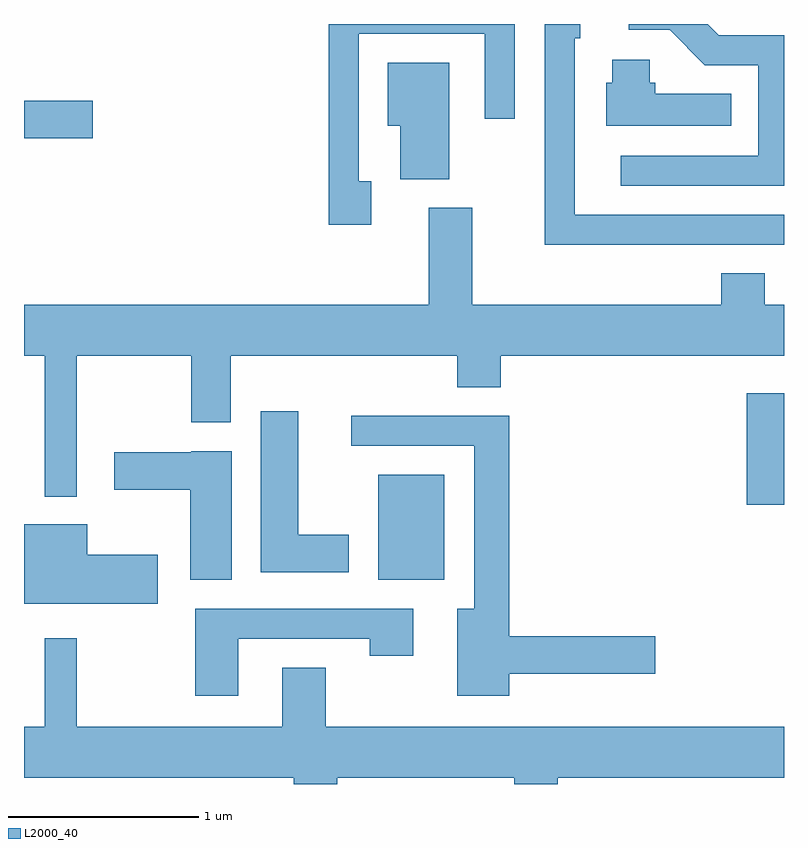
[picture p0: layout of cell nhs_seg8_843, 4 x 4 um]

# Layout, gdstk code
import gdstk
lib = gdstk.Library(unit=1e-6, precision=1e-09)
def R(c, l, rs):  # rectangles x0, y0, x1, y1
    for r in rs: c.add(gdstk.rectangle(r[:2], r[2:], *l))
def P(c, l, *ps):  # polygons
    for p in ps: c.add(gdstk.Polygon(p, *l))
L2000_40 = (2000, 40)

nhs_seg8_843 = lib.new_cell('nhs_seg8_843')
R(nhs_seg8_843, L2000_40, [(211.476,1877.416,211.824,1877.969), (213.416,1877.811,213.611,1878.399), (209.611,1879.741,209.974,1879.939)])
P(nhs_seg8_843, L2000_40, [(213.611,1880.284),(213.267,1880.284),(213.209,1880.342),(212.793,1880.342),(212.793,1880.311),(213.009,1880.311),(213.194,1880.126),(213.476,1880.126),(213.476,1879.649),(212.753,1879.649),(212.753,1879.491),(213.611,1879.491)],
  [(211.439,1879.514),(211.374,1879.514),(211.374,1880.291),(212.036,1880.291),(212.036,1879.843),(212.194,1879.843),(212.194,1880.342),(211.216,1880.342),(211.216,1879.286),(211.439,1879.286)],
  [(213.611,1879.339),(212.509,1879.339),(212.509,1880.266),(212.539,1880.266),(212.539,1880.342),(212.351,1880.342),(212.351,1879.181),(213.611,1879.181)],
  [(213.333,1879.974),(212.934,1879.974),(212.934,1880.034),(212.904,1880.034),(212.904,1880.154),(212.706,1880.154),(212.706,1880.034),(212.676,1880.034),(212.676,1879.806),(213.333,1879.806)],
  [(211.849,1880.139),(211.526,1880.139),(211.526,1879.806),(211.591,1879.806),(211.591,1879.526),(211.849,1879.526)],
  [(209.889,1878.596),(210.491,1878.596),(210.491,1878.246),(210.699,1878.246),(210.699,1878.596),(211.891,1878.596),(211.891,1878.431),(212.119,1878.431),(212.119,1878.596),(213.611,1878.596),(213.611,1878.864),(213.509,1878.864),(213.509,1879.029),(213.281,1879.029),(213.281,1878.864),(211.969,1878.864),(211.969,1879.374),(211.741,1879.374),(211.741,1878.864),(209.611,1878.864),(209.611,1878.596),(209.721,1878.596),(209.721,1877.853),(209.889,1877.853)],
  [(211.319,1877.654),(211.054,1877.654),(211.054,1878.304),(210.856,1878.304),(210.856,1877.456),(211.319,1877.456)],
  [(212.164,1876.921),(212.934,1876.921),(212.934,1877.119),(212.164,1877.119),(212.164,1878.279),(211.333,1878.279),(211.333,1878.121),(211.981,1878.121),(211.981,1877.264),(211.891,1877.264),(211.891,1876.806),(212.164,1876.806)],
  [(210.704,1878.094),(210.49,1878.094),(210.49,1878.089),(210.086,1878.089),(210.086,1877.891),(210.486,1877.891),(210.486,1877.416),(210.704,1877.416)],
  [(210.314,1877.549),(209.944,1877.549),(209.944,1877.709),(209.611,1877.709),(209.611,1877.291),(210.314,1877.291)],
  [(210.739,1877.106),(211.431,1877.106),(211.431,1877.016),(211.659,1877.016),(211.659,1877.264),(210.511,1877.264),(210.511,1876.806),(210.739,1876.806)],
  [(211.259,1876.376),(212.191,1876.376),(212.191,1876.342),(212.419,1876.342),(212.419,1876.376),(213.611,1876.376),(213.611,1876.644),(211.199,1876.644),(211.199,1876.954),(210.971,1876.954),(210.971,1876.644),(209.889,1876.644),(209.889,1877.108),(209.721,1877.108),(209.721,1876.644),(209.611,1876.644),(209.611,1876.376),(211.031,1876.376),(211.031,1876.342),(211.259,1876.342)])

lib.write_gds('nhs_seg8_843.gds')
